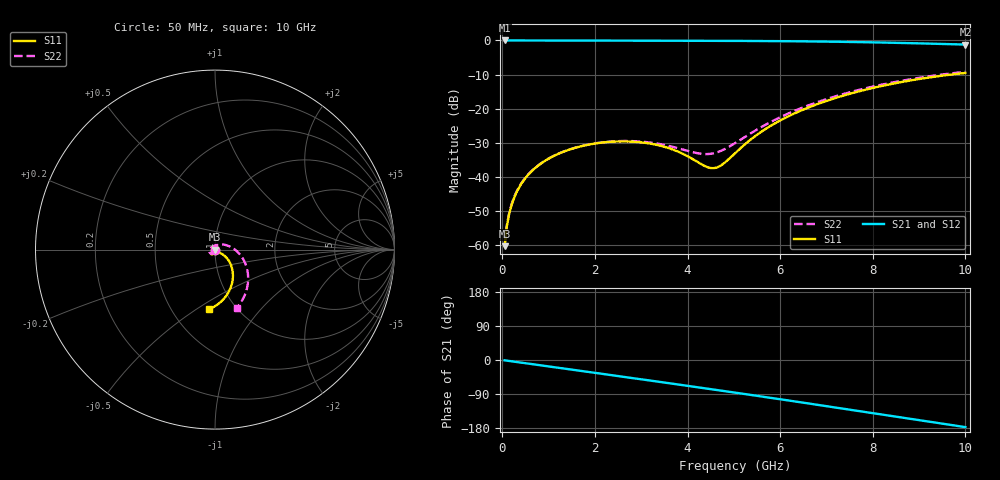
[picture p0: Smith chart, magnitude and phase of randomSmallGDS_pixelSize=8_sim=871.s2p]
! freq	dB(S11)	phase(S11)	dB(S12)	phase(S12)
!  dB(S21)	phase(S21)	dB(S22)	phase(S22)
!S-par simulation data
#  GHz  S  DB  R 50
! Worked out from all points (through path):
!   200 points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, 50 MHz to 10 GHz, reference 50 ohm
!   highest |S21| = 0.00 dB at 50 MHz (marker M1); lowest = -1.2 dB at 10 GHz (marker M2)
!   group delay of S21, straight-line fit = 49.3 ps
!   lowest |S11| = -60.3 dB at 50 MHz (marker M3), VSWR 1.00, Z = 50 - j0.0963 ohm
!   |S11| at or under -10 dB: start of sweep to 9.691 GHz
!   |S22| runs from -60.1 to -9.2 dB; largest |S21 - S12| = 0
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0.05  -60.33 -89.5  -0.00 -0.9  -0.00 -0.9  -60.06 -89.8
0.1  -54.31 -91.1  -0.00 -1.7  -0.00 -1.7  -54.04 -91.5
0.15  -50.78 -92.2  -0.00 -2.6  -0.00 -2.6  -50.53 -92.8
0.2  -48.28 -93.2  -0.00 -3.4  -0.00 -3.4  -48.05 -94.1
0.35  -43.42 -95.8  -0.00 -6.0  -0.00 -6.0  -43.25 -97.4
0.5  -40.36 -98.2  -0.01 -8.5  -0.01 -8.5  -40.23 -100.7
0.7  -37.53 -101.3  -0.01 -11.9  -0.01 -11.9  -37.45 -104.9
1  -34.67 -105.8  -0.02 -17.0  -0.02 -17.0  -34.63 -111.1
1.75  -30.87 -116.7  -0.04 -29.6  -0.04 -29.6  -30.84 -127.1
2.6  -29.60 -127.5  -0.05 -44.1  -0.05 -44.1  -29.48 -147.3
3.4  -30.83 -133.6  -0.07 -57.7  -0.07 -57.7  -30.38 -172.4
3.8  -32.63 -132.0  -0.08 -64.6  -0.08 -64.6  -31.62 169.0
4.25  -35.92 -116.7  -0.09 -72.4  -0.09 -72.4  -33.15 136.3
4.5  -37.41 -93.4  -0.10 -76.8  -0.10 -76.8  -33.24 111.6
4.7  -36.83 -69.0  -0.11 -80.3  -0.11 -80.3  -32.50 91.1
5.05  -32.76 -41.7  -0.13 -86.5  -0.13 -86.5  -29.91 61.2
5.8  -24.99 -32.3  -0.18 -99.9  -0.18 -99.9  -23.88 23.8
6.7  -19.19 -41.1  -0.29 -116.3  -0.29 -116.3  -18.58 -2.6
7.55  -15.47 -53.8  -0.45 -131.9  -0.45 -131.9  -15.02 -22.2
8.35  -12.90 -67.0  -0.65 -146.8  -0.65 -146.8  -12.52 -38.8
9.15  -10.99 -80.8  -0.90 -161.6  -0.90 -161.6  -10.64 -54.3
10  -9.53 -95.7  -1.21 -177.1  -1.21 -177.1  -9.19 -69.8
